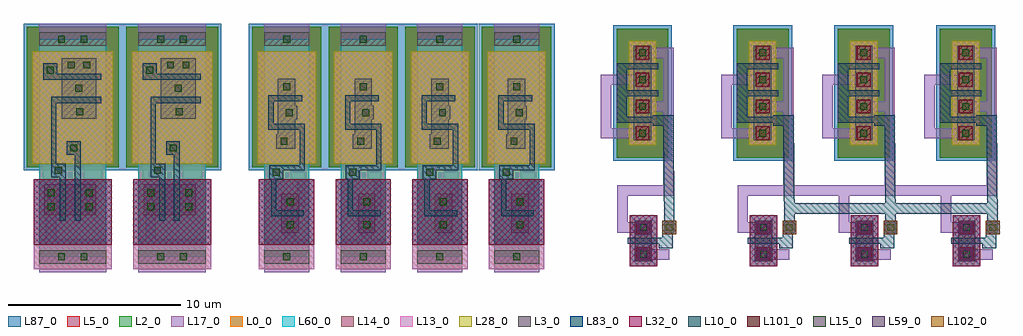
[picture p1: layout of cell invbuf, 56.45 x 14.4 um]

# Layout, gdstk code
from math import pi, radians
import gdstk
lib = gdstk.Library(unit=1e-6, precision=1e-09)
def R(c, l, rs):  # rectangles x0, y0, x1, y1
    for r in rs: c.add(gdstk.rectangle(r[:2], r[2:], *l))
def P(c, l, *ps):  # polygons
    for p in ps: c.add(gdstk.Polygon(p, *l))
L0_0 = (0, 0)
L2_0 = (2, 0)
L3_0 = (3, 0)
L5_0 = (5, 0)
L10_0 = (10, 0)
L13_0 = (13, 0)
L14_0 = (14, 0)
L15_0 = (15, 0)
L17_0 = (17, 0)
L28_0 = (28, 0)
L32_0 = (32, 0)
L59_0 = (59, 0)
L60_0 = (60, 0)
L83_0 = (83, 0)
L87_0 = (87, 0)
L101_0 = (101, 0)
L102_0 = (102, 0)

invp0 = lib.new_cell('INVP0')
R(invp0, L0_0, [(0,0,2.6,12.6)])
R(invp0, L2_0, [(-0.7,5.2,3.3,13.3)])
R(invp0, L3_0, [(0,-0.4,2.6,0.4), (1,1.4,2,3.65), (0,12.2,2.6,13)])
P(invp0, L3_0, [(0.7,6.25),(0.7,7.1),(0.8,7.1),(0.8,10.3),(1.8,10.3),(1.8,8.75),(1.9,8.75),(1.9,7.95),(1.8,7.95),(1.8,6.25)])
R(invp0, L5_0, [(-0.7,5.2,3.3,13.3)])
R(invp0, L10_0, [(0.4,2.35,2.3,2.7), (0.4,2.35,0.7,5.3), (0.3,4.5,1.1,5.3), (0.3,5,2.35,5.3), (2.05,5,2.35,7.7), (0.25,7.35,0.55,9.35), (0.25,7.35,2.35,7.7), (0.25,9,2.2,9.35)])
R(invp0, L13_0, [(-0.3,-0.7,2.9,0.7), (-0.4,5.4,3,11.9)])
R(invp0, L14_0, [(-0.3,-0.7,2.9,0.7), (-0.4,5.4,3,11.9)])
R(invp0, L15_0, [(1.1,-0.2,1.5,0.2), (1.3,1.65,1.7,2.05), (1.3,3,1.7,3.4), (0.5,4.7,0.9,5.1), (0.95,6.5,1.35,6.9), (1.25,8.15,1.65,8.55), (1.1,9.65,1.5,10.05), (1.1,12.4,1.5,12.8)])
R(invp0, L17_0, [(0,-0.9,2.6,1), (1.2,0.7,1.8,2.15), (0.25,4.5,1.05,5.3), (1.55,4.5,2.35,5.3), (0.25,9.55,1.6,10.15), (0,11.6,2.6,13.5)])
P(invp0, L17_0, [(1.2,2.9),(1.2,3.5),(1.9,3.5),(1.9,8.05),(1.15,8.05),(1.15,8.65),(2.35,8.65),(2.35,2.9)],
  [(0.25,6.4),(0.25,11.9),(0.7,11.9),(0.7,7),(1.45,7),(1.45,6.4)])
R(invp0, L28_0, [(-0.4,5.4,3,11.9)])
R(invp0, L32_0, [(-0.3,0.7,2.9,4.5)])
R(invp0, L60_0, [(0,0,2.6,12.6)])
R(invp0, L83_0, [(-0.3,0.7,2.9,4.5)])
R(invp0, L87_0, [(-0.9,5,3.5,13.5)])
invp0.add(gdstk.Label('RSC035G_STD_V100', (0.5,0.5), layer=0, texttype=0))
invp0.add(gdstk.Label('INVP0', (0.5,0), layer=0, texttype=0))
invp0.add(gdstk.Label('Y', (1.95,4.9), layer=50, texttype=0))
invp0.add(gdstk.Label('A', (0.65,4.9), layer=50, texttype=0))
invp0.add(gdstk.Label('GND', (0,0), layer=50, texttype=0))
invp0.add(gdstk.Label('VCC', (0,12.6), layer=50, texttype=0))

nand2p0 = lib.new_cell('NAND2P0')
R(nand2p0, L0_0, [(0,0,3.9,12.6)])
R(nand2p0, L2_0, [(-0.7,5.2,4.6,13.3)])
R(nand2p0, L3_0, [(0,-0.4,3.9,0.4), (0.3,2.4,3.3,4.2), (1.3,8,3.3,11.5), (0,12.2,3.9,13)])
R(nand2p0, L5_0, [(-0.7,5.2,4.6,13.3)])
R(nand2p0, L10_0, [(2.05,2.1,2.4,6.7), (1.6,5.9,2.4,6.7), (0.25,10.25,3.6,10.6), (0.25,10.4,1.05,11.2)])
P(nand2p0, L10_0, [(1.2,2.1),(1.2,4.6),(0.7,4.6),(0.7,9.25),(3.6,9.25),(3.6,8.9),(1,8.9),(1,5.4),(1.55,5.4),(1.55,2.1)])
R(nand2p0, L13_0, [(-0.3,-0.7,4.2,0.7), (-0.4,5.4,4.3,11.9)])
R(nand2p0, L14_0, [(-0.3,-0.7,4.2,0.7), (-0.4,5.4,4.3,11.9)])
R(nand2p0, L15_0, [(1.1,-0.2,1.5,0.2), (2.4,-0.2,2.8,0.2), (0.5,2.7,0.9,3.1), (2.7,2.7,3.1,3.1), (0.5,3.5,0.9,3.9), (2.7,3.5,3.1,3.9), (0.9,4.8,1.3,5.2), (1.8,6.1,2.2,6.5), (2.15,8.2,2.55,8.6), (2.1,9.55,2.5,9.95), (0.45,10.6,0.85,11), (1.65,10.9,2.05,11.3), (2.55,10.9,2.95,11.3), (1.1,12.4,1.5,12.8), (2.4,12.4,2.8,12.8)])
R(nand2p0, L17_0, [(0.25,4.5,1.05,5.3), (2.85,4.5,3.65,5.3), (0.8,4.7,1.4,5.3), (1.55,5.9,2.35,6.7), (0.35,10.5,0.95,11.1)])
P(nand2p0, L17_0, [(0,-0.9),(0,1),(0.4,1),(0.4,4),(1,4),(1,1),(3.9,1),(3.9,-0.9)],
  [(2.6,2.6),(2.6,5.3),(3.1,5.3),(3.1,7.15),(1.15,7.15),(1.15,10.05),(2.6,10.05),(2.6,9.45),(1.6,9.45),(1.6,7.6),(3.55,7.6),(3.55,4.5),(3.2,4.5),(3.2,2.6)],
  [(2.05,8.1),(2.05,8.7),(3.2,8.7),(3.2,10.8),(1.55,10.8),(1.55,11.6),(0,11.6),(0,13.5),(3.9,13.5),(3.9,11.6),(3.65,11.6),(3.65,8.1)],
  [(1.7,6),(1.7,6.25),(0.25,6.25),(0.25,11.1),(0.7,11.1),(0.7,6.7),(2.3,6.7),(2.3,6)])
R(nand2p0, L28_0, [(-0.4,5.4,4.3,11.9)])
R(nand2p0, L32_0, [(-0.3,0.7,4.2,4.5)])
R(nand2p0, L60_0, [(0,0,3.9,12.6)])
R(nand2p0, L83_0, [(-0.3,0.7,4.2,4.5)])
R(nand2p0, L87_0, [(-0.9,5,4.8,13.5)])
nand2p0.add(gdstk.Label('RSC035G_STD_V100', (0.5,0.5), layer=0, texttype=0))
nand2p0.add(gdstk.Label('NAND2P0', (0.5,0), layer=0, texttype=0))
nand2p0.add(gdstk.Label('B', (0.65,4.9), layer=50, texttype=0))
nand2p0.add(gdstk.Label('Y', (3.25,4.9), layer=50, texttype=0))
nand2p0.add(gdstk.Label('A', (1.95,6.3), layer=50, texttype=0))
nand2p0.add(gdstk.Label('GND', (0,0), layer=50, texttype=0))
nand2p0.add(gdstk.Label('VCC', (0,12.6), layer=50, texttype=0))

dcont = lib.new_cell('dcont')
R(dcont, L3_0, [(-0.4,-0.4,0.4,0.4)])
R(dcont, L15_0, [(-0.2,-0.2,0.2,0.2)])
R(dcont, L101_0, [(-0.4,-0.4,0.4,0.4)])

pch_3 = lib.new_cell('Pch$3')
R(pch_3, L2_0, [(-1,0.4,6.45,3.4)])
R(pch_3, L3_0, [(0,1.4,5.45,2.4)])
R(pch_3, L5_0, [(-1,0.4,6.45,3.4)])
R(pch_3, L13_0, [(-0.3,1.1,5.75,2.7)])
R(pch_3, L14_0, [(-0.3,1.1,5.75,2.7)])
R(pch_3, L28_0, [(-0.3,1.1,5.75,2.7)])
R(pch_3, L87_0, [(-1.2,0.2,6.65,3.6)])
pch_3.add(gdstk.FlexPath([(0.4,1.4),(0.4,2.4)], 0.8, ends="flush", simple_path=True, layer=17, datatype=0))  # L17_0
pch_3.add(gdstk.FlexPath([(1.95,1.4),(1.95,2.4)], 0.8, ends="flush", simple_path=True, layer=17, datatype=0))  # L17_0
pch_3.add(gdstk.FlexPath([(3.5,1.4),(3.5,2.4)], 0.8, ends="flush", simple_path=True, layer=17, datatype=0))  # L17_0
pch_3.add(gdstk.FlexPath([(5.05,1.4),(5.05,2.4)], 0.8, ends="flush", simple_path=True, layer=17, datatype=0))  # L17_0
pch_3.add(gdstk.FlexPath([(0.4,1.8),(0.4,3.4)], 0.6, ends="flush", simple_path=True, layer=17, datatype=0))  # L17_0
pch_3.add(gdstk.FlexPath([(1.95,-0.2),(1.95,2)], 0.6, ends="flush", simple_path=True, layer=17, datatype=0))  # L17_0
pch_3.add(gdstk.FlexPath([(3.5,1.8),(3.5,3.4)], 0.6, ends="flush", simple_path=True, layer=17, datatype=0))  # L17_0
pch_3.add(gdstk.FlexPath([(0.4,3.4),(3.5,3.4)], 0.6, ends="extended", simple_path=True, layer=17, datatype=0))  # L17_0
pch_3.add(gdstk.FlexPath([(5.05,-0.2),(5.05,2)], 0.6, ends="flush", simple_path=True, layer=17, datatype=0))  # L17_0
pch_3.add(gdstk.FlexPath([(1.95,-0.2),(5.05,-0.2)], 0.6, ends="extended", simple_path=True, layer=17, datatype=0))  # L17_0
pch_3.add(gdstk.FlexPath([(1.175,1.4),(1.175,2.4)], 0.35, ends=(0.4, 0.4), simple_path=True, layer=10, datatype=0))  # L10_0
pch_3.add(gdstk.FlexPath([(2.725,1.4),(2.725,2.4)], 0.35, ends=(0.4, 0.4), simple_path=True, layer=10, datatype=0))  # L10_0
pch_3.add(gdstk.FlexPath([(4.275,1.4),(4.275,2.4)], 0.35, ends=(0.4, 0.4), simple_path=True, layer=10, datatype=0))  # L10_0
pch_3.add(gdstk.FlexPath([(1,0.7),(2.9,0.7)], 0.6, ends="flush", simple_path=True, layer=10, datatype=0))  # L10_0
pch_3.add(gdstk.FlexPath([(2.55,0.7),(4.45,0.7)], 0.6, ends="flush", simple_path=True, layer=10, datatype=0))  # L10_0
pch_3.add(gdstk.Reference(dcont, (0.4,1.9)))
pch_3.add(gdstk.Reference(dcont, (1.95,1.9)))
pch_3.add(gdstk.Reference(dcont, (3.5,1.9)))
pch_3.add(gdstk.Reference(dcont, (5.05,1.9)))

pcont = lib.new_cell('pcont')
R(pcont, L10_0, [(-0.4,-0.4,0.4,0.4)])
R(pcont, L15_0, [(-0.2,-0.2,0.2,0.2)])
R(pcont, L17_0, [(-0.3,-0.3,0.3,0.3)])
R(pcont, L102_0, [(-0.4,-0.4,0.4,0.4)])

nch_1 = lib.new_cell('Nch$1')
R(nch_1, L3_0, [(0,1.4,2.35,2.4)])
R(nch_1, L32_0, [(-0.3,1.1,2.65,2.7)])
R(nch_1, L59_0, [(0,1.4,2.35,2.4)])
R(nch_1, L83_0, [(-0.3,1.1,2.65,2.7)])
nch_1.add(gdstk.FlexPath([(0.4,1.4),(0.4,2.4)], 0.8, ends="flush", simple_path=True, layer=17, datatype=0))  # L17_0
nch_1.add(gdstk.FlexPath([(1.95,1.4),(1.95,2.4)], 0.8, ends="flush", simple_path=True, layer=17, datatype=0))  # L17_0
nch_1.add(gdstk.FlexPath([(0.4,0.4),(0.4,2)], 0.6, ends="flush", simple_path=True, layer=17, datatype=0))  # L17_0
nch_1.add(gdstk.FlexPath([(1.95,1.8),(1.95,3.4)], 0.6, ends="flush", simple_path=True, layer=17, datatype=0))  # L17_0
nch_1.add(gdstk.FlexPath([(1.175,1.4),(1.175,2.4)], 0.35, ends=(0.4, 0.4), simple_path=True, layer=10, datatype=0))  # L10_0
nch_1.add(gdstk.FlexPath([(0.4,3.3),(1.3,3.3),(1.3,2.8)], 0.6, ends="flush", simple_path=True, layer=10, datatype=0))  # L10_0
nch_1.add(gdstk.Reference(dcont, (0.4,1.9)))
nch_1.add(gdstk.Reference(dcont, (1.95,1.9)))
nch_1.add(gdstk.Reference(pcont, (0.4,3.4)))

inv0 = lib.new_cell('inv0')
inv0.add(gdstk.FlexPath([(3.9,9.25),(3.9,4.4),(1.25,4.4),(1.25,2.35),(1.25,2.35),(1.25,2.25),(1.25,2.25)], 0.6, ends="flush", simple_path=True, layer=17, datatype=0))  # L17_0
inv0.add(gdstk.FlexPath([(3.95,2.3),(3.9,8.45),(3,8.45)], 0.6, ends="flush", simple_path=True, layer=10, datatype=0))  # L10_0
inv0.add(gdstk.Reference(pch_3, (0.5,12.75), rotation=3*pi/2))
inv0.add(gdstk.Reference(nch_1, (0.55,2.65), rotation=3*pi/2))

invbuf = lib.new_cell('invbuf')
invbuf.add(gdstk.FlexPath([(42.75,6),(46,6)], 0.6, ends="flush", simple_path=True, layer=17, datatype=0))  # L17_0
invbuf.add(gdstk.FlexPath([(48.65,6),(51.85,6)], 0.6, ends="flush", simple_path=True, layer=17, datatype=0))  # L17_0
invbuf.add(gdstk.FlexPath([(42.75,4.95),(48.65,4.95)], 0.6, ends="flush", simple_path=True, layer=10, datatype=0))  # L10_0
invbuf.add(gdstk.FlexPath([(48.65,4.95),(54.55,4.95)], 0.6, ends="flush", simple_path=True, layer=10, datatype=0))  # L10_0
invbuf.add(gdstk.Reference(invp0, (12.419,2.15)))
invbuf.add(gdstk.Reference(invp0, (16.852,2.15)))
invbuf.add(gdstk.Reference(invp0, (21.285,2.15)))
invbuf.add(gdstk.Reference(invp0, (25.718,2.15)))
invbuf.add(gdstk.Reference(nand2p0, (5.15,2.15)))
invbuf.add(gdstk.Reference(nand2p0, (-0.6,2.15)))
invbuf.add(gdstk.Reference(inv0, (31.9,1.6)))
invbuf.add(gdstk.Reference(inv0, (31.9,1.6)))
invbuf.add(gdstk.Reference(inv0, (50.6,1.6)))
invbuf.add(gdstk.Reference(inv0, (44.7,1.6)))
invbuf.add(gdstk.Reference(inv0, (38.85,1.6)))

lib.write_gds('invbuf.gds')
